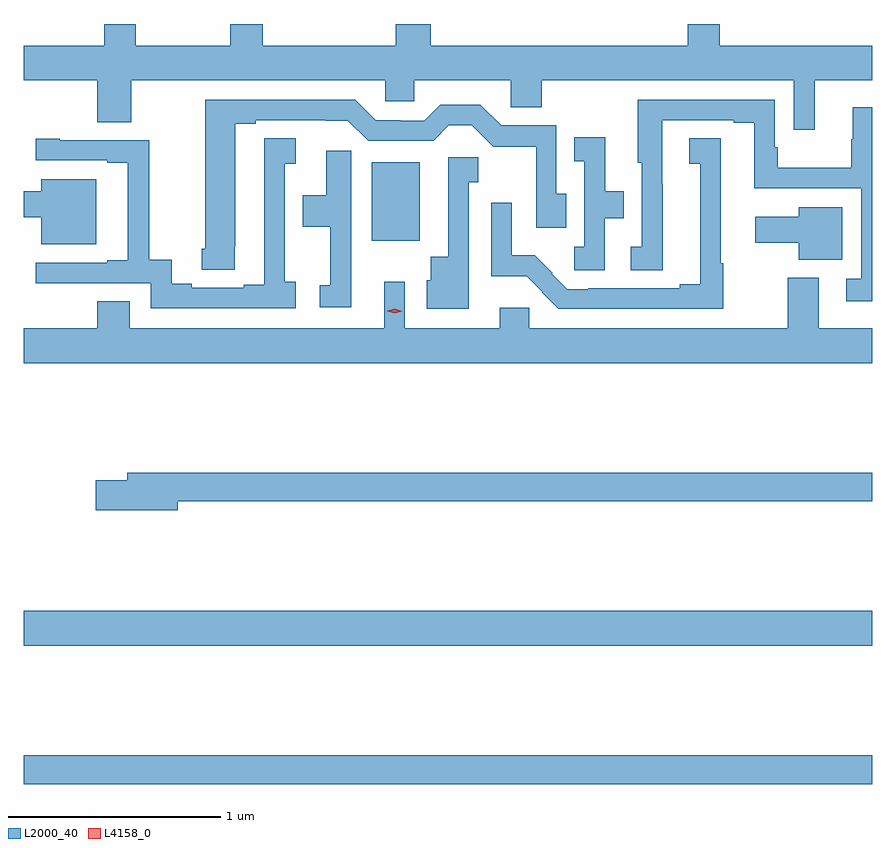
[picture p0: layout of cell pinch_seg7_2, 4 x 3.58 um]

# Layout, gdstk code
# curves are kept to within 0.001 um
import gdstk
lib = gdstk.Library(unit=1e-6, precision=1e-09)
def R(c, l, rs):  # rectangles x0, y0, x1, y1
    for r in rs: c.add(gdstk.rectangle(r[:2], r[2:], *l))
def P(c, l, *ps):  # polygons
    for p in ps: c.add(gdstk.Polygon(p, *l))
L2000_40 = (2000, 40)
L4158_0 = (4158, 0)

pinch_seg7_2 = lib.new_cell('pinch_seg7_2')
R(pinch_seg7_2, L2000_40, [(1091.625,1041.256,1095.625,1041.392), (1091.625,1041.908,1095.625,1042.072), (1093.265,1043.816,1093.492,1044.187)])
P(pinch_seg7_2, L2000_40, [(1095.353,1044.572),(1095.625,1044.572),(1095.625,1044.736),(1094.906,1044.736),(1094.906,1044.838),(1094.754,1044.838),(1094.754,1044.736),(1093.544,1044.736),(1093.544,1044.838),(1093.379,1044.838),(1093.379,1044.736),(1092.753,1044.736),(1092.753,1044.838),(1092.598,1044.838),(1092.598,1044.736),(1092.153,1044.736),(1092.153,1044.838),(1092.005,1044.838),(1092.005,1044.736),(1091.625,1044.736),(1091.625,1044.572),(1091.972,1044.572),(1091.972,1044.376),(1092.132,1044.376),(1092.132,1044.572),(1093.329,1044.572),(1093.329,1044.474),(1093.467,1044.474),(1093.467,1044.572),(1093.92,1044.572),(1093.92,1044.445),(1094.067,1044.445),(1094.067,1044.572),(1095.255,1044.572),(1095.255,1044.339),(1095.353,1044.339)],
  [(1092.621,1043.788),(1092.622,1044.369),(1092.718,1044.369),(1092.718,1044.384),(1093.153,1044.383),(1093.248,1044.288),(1093.557,1044.288),(1093.628,1044.36),(1093.738,1044.36),(1093.838,1044.259),(1094.04,1044.259),(1094.04,1043.877),(1094.183,1043.877),(1094.183,1044.038),(1094.136,1044.038),(1094.136,1044.36),(1093.875,1044.36),(1093.778,1044.457),(1093.588,1044.457),(1093.512,1044.381),(1093.4,1044.381),(1093.4,1044.384),(1093.284,1044.384),(1093.188,1044.48),(1092.482,1044.48),(1092.482,1043.778),(1092.464,1043.778),(1092.464,1043.68),(1092.621,1043.68)],
  [(1095.625,1044.445),(1095.533,1044.445),(1095.533,1044.294),(1095.526,1044.294),(1095.526,1044.16),(1095.178,1044.16),(1095.178,1044.256),(1095.165,1044.256),(1095.165,1044.48),(1094.519,1044.48),(1094.519,1044.183),(1094.538,1044.183),(1094.538,1043.788),(1094.487,1043.788),(1094.487,1043.677),(1094.636,1043.677),(1094.636,1044.083),(1094.634,1044.083),(1094.634,1044.384),(1094.972,1044.384),(1094.972,1044.372),(1095.068,1044.372),(1095.068,1044.063),(1095.573,1044.063),(1095.573,1043.637),(1095.501,1043.637),(1095.501,1043.532),(1095.625,1043.532)],
  [(1094.364,1043.922),(1094.453,1043.922),(1094.453,1044.05),(1094.365,1044.05),(1094.365,1044.304),(1094.221,1044.304),(1094.221,1044.191),(1094.268,1044.191),(1094.268,1043.788),(1094.219,1043.788),(1094.219,1043.677),(1094.364,1043.677)],
  [(1094.923,1043.711),(1094.911,1043.711),(1094.911,1044.299),(1094.763,1044.299),(1094.763,1044.18),(1094.813,1044.18),(1094.813,1043.612),(1094.717,1043.612),(1094.717,1043.592),(1094.287,1043.592),(1094.287,1043.589),(1094.187,1043.589),(1094.115,1043.661),(1094.118,1043.664),(1094.035,1043.747),(1093.926,1043.747),(1093.926,1043.995),(1093.83,1043.995),(1093.83,1043.649),(1093.996,1043.649),(1094.069,1043.576),(1094.066,1043.573),(1094.144,1043.496),(1094.923,1043.496)],
  [(1092.907,1043.623),(1092.855,1043.623),(1092.855,1044.18),(1092.907,1044.18),(1092.907,1044.299),(1092.759,1044.299),(1092.759,1044.191),(1092.758,1044.191),(1092.758,1043.61),(1092.662,1043.61),(1092.662,1043.595),(1092.418,1043.595),(1092.418,1043.614),(1092.322,1043.614),(1092.322,1043.728),(1092.218,1043.728),(1092.218,1044.291),(1091.794,1044.291),(1091.794,1044.296),(1091.682,1044.296),(1091.682,1044.195),(1092.02,1044.195),(1092.02,1044.183),(1092.116,1044.183),(1092.116,1043.725),(1092.02,1043.725),(1092.02,1043.712),(1091.682,1043.712),(1091.682,1043.616),(1092.225,1043.616),(1092.225,1043.499),(1092.907,1043.499)],
  [(1093.168,1044.241),(1093.052,1044.241),(1093.052,1044.03),(1092.94,1044.03),(1092.94,1043.882),(1093.07,1043.882),(1093.07,1043.607),(1093.02,1043.607),(1093.02,1043.502),(1093.168,1043.502)],
  [(1093.722,1044.091),(1093.767,1044.091),(1093.767,1044.21),(1093.625,1044.21),(1093.625,1043.74),(1093.544,1043.74),(1093.544,1043.631),(1093.526,1043.631),(1093.526,1043.495),(1093.722,1043.495)],
  [(1091.968,1044.106),(1091.708,1044.106),(1091.708,1044.049),(1091.625,1044.049),(1091.625,1043.927),(1091.708,1043.927),(1091.708,1043.801),(1091.968,1043.801)],
  [(1095.484,1043.974),(1095.278,1043.974),(1095.278,1043.929),(1095.072,1043.929),(1095.072,1043.807),(1095.278,1043.807),(1095.278,1043.726),(1095.484,1043.726)],
  [(1095.625,1043.404),(1095.373,1043.404),(1095.373,1043.641),(1095.226,1043.641),(1095.226,1043.404),(1094.007,1043.404),(1094.007,1043.5),(1093.868,1043.5),(1093.868,1043.404),(1093.422,1043.404),(1093.422,1043.623),(1093.325,1043.623),(1093.325,1043.404),(1092.124,1043.404),(1092.124,1043.531),(1091.972,1043.531),(1091.972,1043.404),(1091.625,1043.404),(1091.625,1043.24),(1095.625,1043.24)],
  [(1092.352,1042.588),(1095.625,1042.588),(1095.625,1042.724),(1092.113,1042.724),(1092.113,1042.688),(1091.964,1042.688),(1091.964,1042.546),(1092.352,1042.546)])
P(pinch_seg7_2, L4158_0, [(1093.374,1043.475),(1093.339,1043.485),(1093.339,1043.486),(1093.339,1043.486),(1093.374,1043.495),(1093.41,1043.484),(1093.41,1043.484),(1093.41,1043.484)])

lib.write_gds('pinch_seg7_2.gds')
